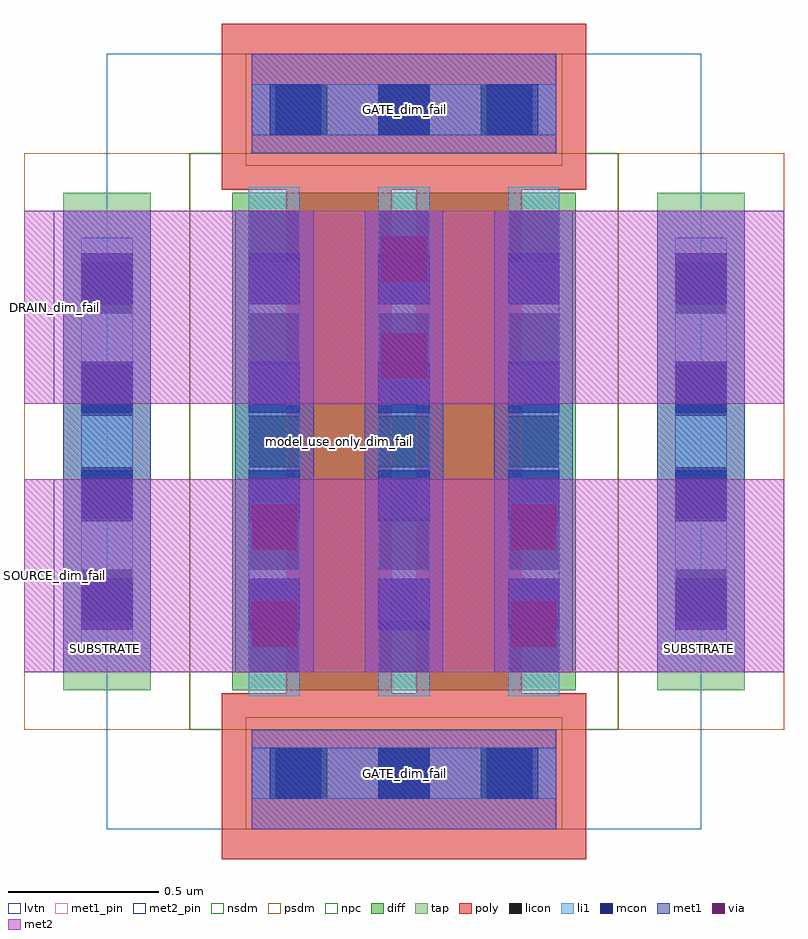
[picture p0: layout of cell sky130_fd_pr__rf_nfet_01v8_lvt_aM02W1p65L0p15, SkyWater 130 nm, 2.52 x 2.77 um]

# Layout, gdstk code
import gdstk
lib = gdstk.Library(unit=1e-6, precision=1e-09)
def R(c, l, rs):  # rectangles x0, y0, x1, y1
    for r in rs: c.add(gdstk.rectangle(r[:2], r[2:], *l))
def A(c, l, x, y, w, h, nx, ny, dx, dy):  # array of equal rectangles
    R(c, l, [(x+i*dx, y+j*dy, x+i*dx+w, y+j*dy+h) for i in range(nx) for j in range(ny)])
def P(c, l, *ps):  # polygons
    for p in ps: c.add(gdstk.Polygon(p, *l))
diff = (65, 20)
tap = (65, 44)
poly = (66, 20)
licon = (66, 44)
li1 = (67, 20)
mcon = (67, 44)
met1_pin = (68, 16)
met1 = (68, 20)
via = (68, 44)
met2_pin = (69, 16)
met2 = (69, 20)
nsdm = (93, 44)
psdm = (94, 20)
npc = (95, 20)
lvtn = (125, 44)

sky130_fd_pr__rf_nfet_01 = lib.new_cell('sky130_fd_pr__rf_nfet_01v8_lvt_aM02W1p65L0p15')
R(sky130_fd_pr__rf_nfet_01, diff, [(0.74,0.51,1.88,2.16)])
R(sky130_fd_pr__rf_nfet_01, tap, [(0.18,0.51,0.47,2.16), (2.15,0.51,2.44,2.16)])
P(sky130_fd_pr__rf_nfet_01, poly, [(0.705,-0.05),(0.705,0.5),(0.92,0.5),(0.92,2.17),(1.27,2.17),(1.27,0.5),(1.35,0.5),(1.35,2.17),(0.705,2.17),(0.705,2.72),(1.915,2.72),(1.915,2.17),(1.7,2.17),(1.7,0.5),(1.915,0.5),(1.915,-0.05)])
A(sky130_fd_pr__rf_nfet_01, licon, 0.885, 0.15, 0.17, 0.17, 3, 2, 0.34, 2.2)
A(sky130_fd_pr__rf_nfet_01, licon, 0.795, 0.57, 0.17, 0.17, 3, 5, 0.43, 0.34)
A(sky130_fd_pr__rf_nfet_01, licon, 0.24, 0.74, 0.17, 0.17, 1, 4, 0, 0.34)
A(sky130_fd_pr__rf_nfet_01, licon, 2.21, 0.74, 0.17, 0.17, 1, 4, 0, 0.34)
A(sky130_fd_pr__rf_nfet_01, li1, 0.795, 0.49, 0.17, 1.69, 3, 1, 0.43, 0)
R(sky130_fd_pr__rf_nfet_01, li1, [(0.805,0.15,1.815,0.32), (0.865,0.15,1.755,0.32), (0.24,0.66,0.41,2.01), (2.21,0.66,2.38,2.01), (0.805,2.35,1.815,2.52), (0.865,2.35,1.755,2.52)])
A(sky130_fd_pr__rf_nfet_01, mcon, 0.865, 0.15, 0.17, 0.17, 3, 2, 0.36, 2.2)
A(sky130_fd_pr__rf_nfet_01, mcon, 0.24, 0.71, 0.17, 0.17, 1, 4, 0, 0.36)
A(sky130_fd_pr__rf_nfet_01, mcon, 0.795, 0.71, 0.17, 0.17, 3, 4, 0.43, 0.36)
A(sky130_fd_pr__rf_nfet_01, mcon, 2.21, 0.71, 0.17, 0.17, 1, 4, 0, 0.36)
R(sky130_fd_pr__rf_nfet_01, met1_pin, [(0.805,0.05,1.815,0.38), (0.18,0.57,0.47,0.65), (2.15,0.57,2.44,0.65), (0.805,2.29,1.815,2.62)])
A(sky130_fd_pr__rf_nfet_01, met1, 0.75, 0.57, 0.26, 1.53, 3, 1, 0.43, 0)
R(sky130_fd_pr__rf_nfet_01, met1, [(0.805,0.05,1.815,0.38), (0.18,0.57,0.47,2.1), (2.15,0.57,2.44,2.1), (0.805,2.29,1.815,2.62)])
R(sky130_fd_pr__rf_nfet_01, via, [(0.805,0.655,0.955,0.805), (1.665,0.655,1.815,0.805), (0.805,0.975,0.955,1.125), (1.665,0.975,1.815,1.125), (1.235,1.545,1.385,1.695), (1.235,1.865,1.385,2.015)])
R(sky130_fd_pr__rf_nfet_01, met2_pin, [(0.05,0.57,0.15,1.21), (0.05,1.46,0.15,2.1)])
R(sky130_fd_pr__rf_nfet_01, met2, [(0.05,0.57,2.57,1.21), (0.05,1.46,2.57,2.1)])
R(sky130_fd_pr__rf_nfet_01, nsdm, [(0.6,0.38,2.02,2.29)])
R(sky130_fd_pr__rf_nfet_01, psdm, [(0.05,0.38,0.6,2.29), (2.02,0.38,2.57,2.29)])
R(sky130_fd_pr__rf_nfet_01, npc, [(0.785,0.05,1.835,0.42), (0.785,2.25,1.835,2.62)])
R(sky130_fd_pr__rf_nfet_01, lvtn, [(0.325,0.05,2.295,2.62)])
sky130_fd_pr__rf_nfet_01.add(gdstk.Label('model_use_only_dim_fail', (1.095,1.335), layer=66, texttype=83))
sky130_fd_pr__rf_nfet_01.add(gdstk.Label('model_use_only_dim_fail', (1.525,1.335), layer=66, texttype=83))
sky130_fd_pr__rf_nfet_01.add(gdstk.Label('DRAIN_dim_fail', (0.15,1.78), layer=69, texttype=5))
sky130_fd_pr__rf_nfet_01.add(gdstk.Label('SOURCE_dim_fail', (0.15,0.89), layer=69, texttype=5))
sky130_fd_pr__rf_nfet_01.add(gdstk.Label('GATE_dim_fail', (1.31,0.235), layer=68, texttype=5))
sky130_fd_pr__rf_nfet_01.add(gdstk.Label('GATE_dim_fail', (1.31,2.435), layer=68, texttype=5))
sky130_fd_pr__rf_nfet_01.add(gdstk.Label('SUBSTRATE', (0.32,0.65), layer=68, texttype=5))
sky130_fd_pr__rf_nfet_01.add(gdstk.Label('SUBSTRATE', (2.29,0.65), layer=68, texttype=5))

lib.write_gds('sky130_fd_pr__rf_nfet_01v8_lvt_aM02W1p65L0p15.gds')
